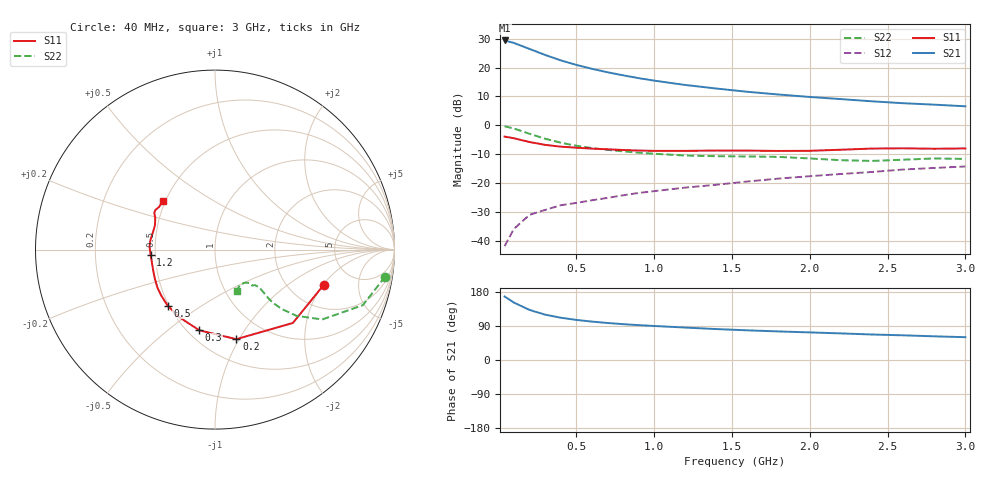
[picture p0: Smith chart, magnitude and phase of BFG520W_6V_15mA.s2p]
! Filename:  BFG520WJ.S2P  Version:  4.0
! Philips part #: BFG520  Date: Jun 1994
! Bias condition: Vce=6.0V, Ic=15mA
! IN LINE PINNING: same data as with cross emitter pinning.
#  MHz  S  MA  R  50
! Freq  S11  S21  S12  S22  !GUM [dB]
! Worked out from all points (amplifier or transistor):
!   21 points, 40 MHz to 3 GHz, reference 50 ohm
!   highest |S21| = 29.4 dB at 40 MHz (marker M1)
!   |S21| within 3 dB of that: start of sweep to 202.8 MHz
!   unconditionally stable (mu >= 1): 977.8 MHz to end of sweep
!   at 300 MHz: K = 0.54, MSG = 26.9 dB, |S12| = -29.4 dB
!   at 1 GHz: K = 1.01, MAG = 18.6 dB, |S12| = -22.9 dB
!   at 3 GHz: K = 1.10, MAG = 8.5 dB, |S12| = -14.3 dB
!   S11 on the Smith chart (normalised r, x): 40 MHz: 3.06, -2.03; 200 MHz: 0.72, -0.97; 300 MHz: 0.57, -0.65; 500 MHz: 0.49, -0.37; 1.2 GHz: 0.47, -0.03; 3 GHz: 0.48, +0.31
40  0.637 -18.0  29.65 167.5  0.008 80.9  0.96 -9.0
100  0.596 -43.3  26.83 151.5  0.016 72.5  0.88 -20.6
200  0.513 -76.6  21.13 132.1  0.028 63.2  0.713 -33.1
300  0.458 -101.0  16.64 119.7  0.034 59.4  0.585 -39.1
400  0.426 -117.8  13.41 111.6  0.041 60.0  0.5 -41.6
500  0.409 -130.2  11.19 105.8  0.045 60.4  0.442 -42.5
600  0.394 -139.6  9.562 101.4  0.05 61.7  0.403 -42.4
700  0.384 -146.8  8.333 97.7  0.055 63.3  0.375 -41.8
800  0.373 -153.6  7.371 94.6  0.061 64.9  0.354 -41.2
900  0.365 -159.9  6.586 92.0  0.067 66.7  0.335 -40.8
1000  0.36 -165.5  5.965 89.8  0.072 68.0  0.321 -40.7
1200  0.36 -175.5  5.013 85.6  0.083 69.5  0.299 -41.5
1400  0.365 177.6  4.345 81.6  0.093 70.9  0.291 -43.4
1600  0.364 172.0  3.813 78.3  0.106 72.5  0.288 -44.2
1800  0.359 165.1  3.42 75.4  0.119 72.2  0.283 -43.9
2000  0.361 157.9  3.104 72.8  0.131 72.8  0.266 -44.3
2200  0.377 152.0  2.848 70.2  0.143 72.6  0.248 -47.9
2400  0.395 148.9  2.607 67.3  0.155 73.7  0.241 -54.7
2600  0.399 146.5  2.417 65.1  0.171 73.7  0.253 -60.3
2800  0.392 142.8  2.281 62.5  0.182 73.2  0.266 -61.7
3000  0.397 137.1  2.137 60.2  0.193 73.3  0.261 -61.8
